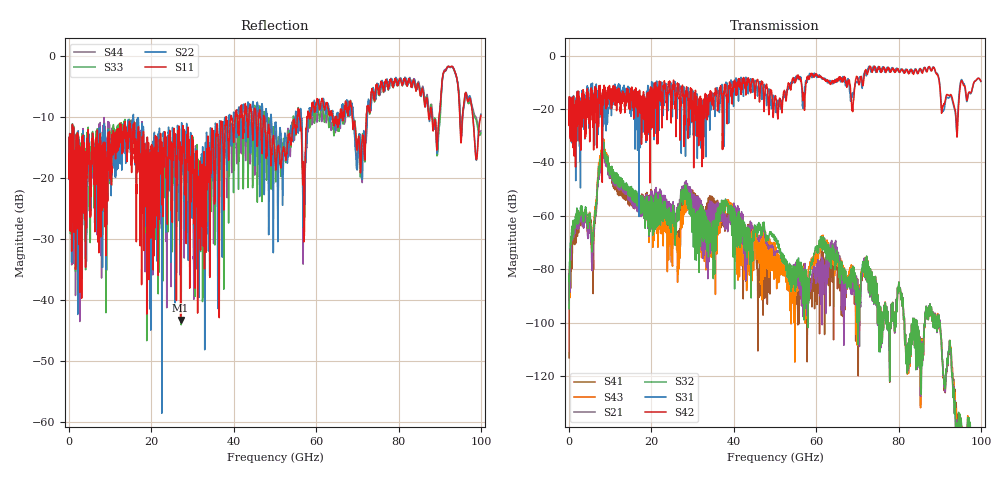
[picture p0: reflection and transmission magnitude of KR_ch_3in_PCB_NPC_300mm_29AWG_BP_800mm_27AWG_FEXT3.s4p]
! Created Thu Mar  2 12:57:08 2023
# ghz S ma R 45
! 4 Port Network Data from SP1.SP block
! freq  magS11  angS11  magS12  angS12  magS13  angS13  magS14  angS14
!  magS21  angS21  magS22  angS22  magS23  angS23  magS24  angS24
!  magS31  angS31  magS32  angS32  magS33  angS33  magS34  angS34
!  magS41  angS41  magS42  angS42  magS43  angS43  magS44  angS44
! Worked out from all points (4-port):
!   4000 points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, 25 MHz to 100 GHz, reference 45 ohm
!   strongest paths, dB at 25 MHz, 25.02 GHz, 50.02 GHz, 75.03 GHz, 100 GHz:
!     S42: -20.7, -15.0, -15.8, -5.1, -9.6
!     S31: -20.7, -18.0, -18.0, -4.3, -9.7
!     S32: -94.8, -61.0, -67.8, -91.1, -148.7
!     S21: -92.6, -57.2, -74.6, -91.2, -153.9
!     S43: -91.5, -72.3, -71.9, -91.0, -154.6
!     S41: -113.2, -64.9, -78.3, -91.1, -155.7
!   lowest |S11| = -43.2 dB at 27.1 GHz (marker M1), VSWR 1.01, Z = 44.9 - j0.61 ohm
!   |S11| at or under -10 dB: start of sweep to 38.14 GHz; 47.46 GHz to 55.4 GHz (7.94 GHz wide, 15.4 % of centre); 68.72 GHz to 72.16 GHz (3.434 GHz wide, 4.87 % of centre)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
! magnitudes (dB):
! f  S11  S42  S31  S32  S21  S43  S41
! 25 MHz  -16.1  -20.7  -20.7  -94.8  -92.6  -91.5  -113.2
! 5.775 GHz  -15.8  -26.8  -20.4  -69.0  -73.3  -68.2  -75.3
! 8.25 GHz  -15.7  -12.8  -16.8  -34.4  -36.3  -33.3  -34.8
! 27.1 GHz  -43.2  -17.8  -17.6  -52.0  -52.1  -60.2  -63.2
! 38.65 GHz  -13.8  -14.9  -14.7  -55.8  -60.6  -54.2  -57.9
! 53.88 GHz  -14.6  -12.6  -10.1  -80.6  -80.0  -89.0  -87.7
! 100 GHz  -9.7  -9.6  -9.7  -148.7  -153.9  -154.6  -155.7
